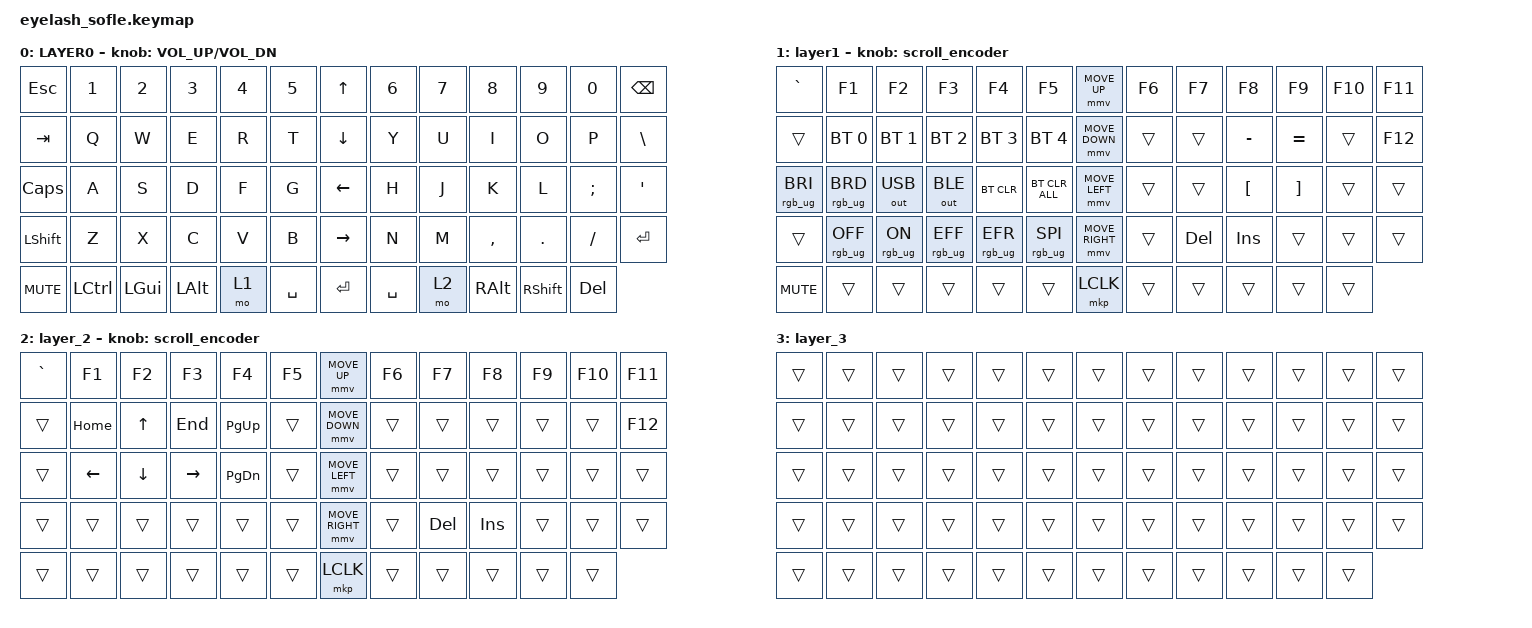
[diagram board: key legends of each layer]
#define ZMK_POINTING_DEFAULT_MOVE_VAL 1200  // 600
#define ZMK_POINTING_DEFAULT_SCRL_VAL 35    // 10

#include <input/processors.dtsi>
#include <zephyr/dt-bindings/input/input-event-codes.h>
#include <behaviors.dtsi>
#include <dt-bindings/zmk/bt.h>
#include <dt-bindings/zmk/keys.h>
#include <dt-bindings/zmk/outputs.h>
#include <dt-bindings/zmk/pointing.h>
#include <dt-bindings/zmk/pointing.h>
#include <dt-bindings/zmk/pointing.h>
#include <dt-bindings/zmk/rgb.h>

/ {
    zip_scroll_scaler: zip_scroll_scaler {
        compatible = "zmk,input-processor-scaler";
        #input-processor-cells = <2>;
        type = <INPUT_EV_REL>;
        codes = <INPUT_REL_WHEEL INPUT_REL_HWHEEL>;
        track-remainders;
    };
};

&mmv_input_listener { input-processors = <&zip_xy_scaler 2 1>; };

&msc_input_listener { input-processors = <&zip_scroll_scaler 2 1>; };

&msc {
    acceleration-exponent = <0>;      // 0
    time-to-max-speed-ms = <0>;       // 300
    delay-ms = <0>;                   // 0
};

&mmv {
    time-to-max-speed-ms = <400>;
    acceleration-exponent = <1>;
};

/ {
    scroll_encoder: scroll_encoder {
        compatible = "zmk,behavior-sensor-rotate";
        #sensor-binding-cells = <0>;
        bindings = <&msc SCRL_DOWN>, <&msc SCRL_UP>;

        tap-ms = <30>;
    };

    behaviors {
    };

    keymap {
        compatible = "zmk,keymap";

        layer0 {
            bindings = <
&kp ESC     &kp NUMBER_1  &kp N2        &kp N3        &kp N4  &kp N5       &kp UP_ARROW     &kp N6     &kp N7  &kp N8         &kp N9           &kp N0      &kp BACKSPACE
&kp TAB     &kp Q         &kp W         &kp E         &kp R   &kp T        &kp DOWN_ARROW   &kp Y      &kp U   &kp I          &kp O            &kp P       &kp BSLH
&kp CAPS    &kp A         &kp S         &kp D         &kp F   &kp G        &kp LEFT_ARROW   &kp H      &kp J   &kp K          &kp L            &kp SEMI    &kp APOS
&kp LSHFT   &kp Z         &kp X         &kp C         &kp V   &kp B        &kp RIGHT_ARROW  &kp N      &kp M   &kp COMMA      &kp DOT          &kp FSLH    &kp ENTER
&kp C_MUTE  &kp LCTRL     &kp LEFT_GUI  &kp LEFT_ALT  &mo 1   &kp SPACE    &kp ENTER        &kp SPACE  &mo 2   &kp RIGHT_ALT  &kp RIGHT_SHIFT  &kp DELETE
            >;

            sensor-bindings = <&inc_dec_kp C_VOLUME_UP C_VOL_DN>;
            display-name = "LAYER0";
        };

        layer_1 {
            bindings = <
&kp GRAVE        &kp F1           &kp F2          &kp F3           &kp F4           &kp F5             &mmv MOVE_UP     &kp F6  &kp F7      &kp F8            &kp F9             &kp F10  &kp F11
&trans           &bt BT_SEL 0     &bt BT_SEL 1    &bt BT_SEL 2     &bt BT_SEL 3     &bt BT_SEL 4       &mmv MOVE_DOWN   &trans  &trans      &kp MINUS         &kp EQUAL          &trans   &kp F12
&rgb_ug RGB_BRI  &rgb_ug RGB_BRD  &out OUT_USB    &out OUT_BLE     &bt BT_CLR       &bt BT_CLR_ALL     &mmv MOVE_LEFT   &trans  &trans      &kp LEFT_BRACKET  &kp RIGHT_BRACKET  &trans   &trans
&trans           &rgb_ug RGB_OFF  &rgb_ug RGB_ON  &rgb_ug RGB_EFF  &rgb_ug RGB_EFR  &rgb_ug RGB_SPI    &mmv MOVE_RIGHT  &trans  &kp DELETE  &kp INSERT        &trans             &trans   &trans
&kp C_MUTE       &trans           &trans          &trans           &trans           &trans             &mkp LCLK        &trans  &trans      &trans            &trans             &trans
            >;

            display-name = "layer1";
            sensor-bindings = <&scroll_encoder>;
        };

        layer_2 {
            bindings = <
&kp GRAVE  &kp F1          &kp F2          &kp F3           &kp F4         &kp F5    &mmv MOVE_UP     &kp F6  &kp F7   &kp F8   &kp F9  &kp F10  &kp F11
&trans     &kp HOME        &kp UP_ARROW    &kp END          &kp PAGE_UP    &trans    &mmv MOVE_DOWN   &trans  &trans   &trans   &trans  &trans   &kp F12
&trans     &kp LEFT_ARROW  &kp DOWN_ARROW  &kp RIGHT_ARROW  &kp PAGE_DOWN  &trans    &mmv MOVE_LEFT   &trans  &trans   &trans   &trans  &trans   &trans
&trans     &trans          &trans          &trans           &trans         &trans    &mmv MOVE_RIGHT  &trans  &kp DEL  &kp INS  &trans  &trans   &trans
&trans     &trans          &trans          &trans           &trans         &trans    &mkp LCLK        &trans  &trans   &trans   &trans  &trans
            >;

            sensor-bindings = <&scroll_encoder>;
        };

        layer_3 {
            bindings = <
&trans  &trans  &trans  &trans  &trans  &trans    &trans  &trans  &trans  &trans  &trans  &trans  &trans
&trans  &trans  &trans  &trans  &trans  &trans    &trans  &trans  &trans  &trans  &trans  &trans  &trans
&trans  &trans  &trans  &trans  &trans  &trans    &trans  &trans  &trans  &trans  &trans  &trans  &trans
&trans  &trans  &trans  &trans  &trans  &trans    &trans  &trans  &trans  &trans  &trans  &trans  &trans
&trans  &trans  &trans  &trans  &trans  &trans    &trans  &trans  &trans  &trans  &trans  &trans
            >;
        };
    };
};
